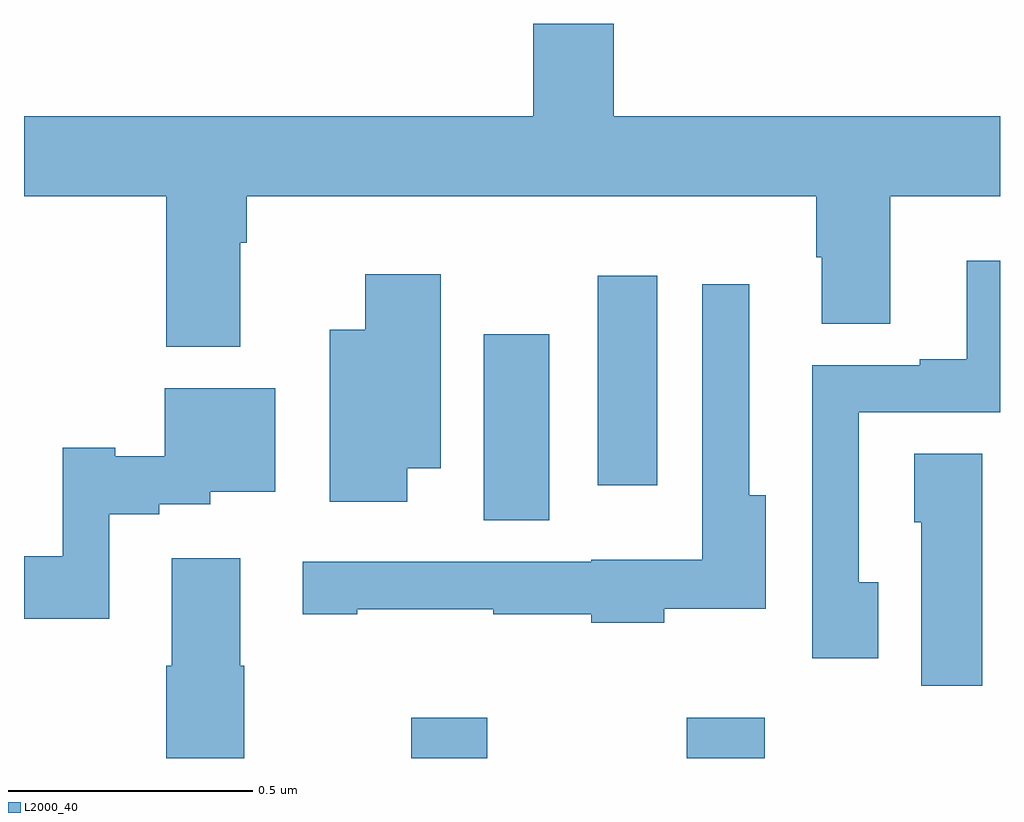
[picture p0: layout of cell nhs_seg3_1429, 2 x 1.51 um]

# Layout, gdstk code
import gdstk
lib = gdstk.Library(unit=1e-6, precision=1e-09)
def R(c, l, rs):  # rectangles x0, y0, x1, y1
    for r in rs: c.add(gdstk.rectangle(r[:2], r[2:], *l))
def P(c, l, *ps):  # polygons
    for p in ps: c.add(gdstk.Polygon(p, *l))
L2000_40 = (2000, 40)

nhs_seg3_1429 = lib.new_cell('nhs_seg3_1429')
R(nhs_seg3_1429, L2000_40, [(128.794,730.4,128.949,730.483), (129.358,730.4,129.518,730.483), (128.942,730.888,129.076,731.269), (129.176,730.959,129.298,731.389)])
P(nhs_seg3_1429, L2000_40, [(128.443,731.456),(128.456,731.456),(128.456,731.552),(129.623,731.552),(129.623,731.427),(129.635,731.427),(129.635,731.29),(129.775,731.29),(129.775,731.552),(130,731.552),(130,731.716),(129.208,731.716),(129.208,731.905),(129.044,731.905),(129.044,731.716),(128,731.716),(128,731.552),(128.291,731.552),(128.291,731.243),(128.443,731.243)],
  [(129.751,730.761),(129.711,730.761),(129.711,731.109),(130,731.109),(130,731.419),(129.932,731.419),(129.932,731.218),(129.836,731.218),(129.836,731.205),(129.615,731.205),(129.615,730.605),(129.751,730.605)],
  [(128.785,730.994),(128.854,730.994),(128.854,731.392),(128.699,731.392),(128.699,731.278),(128.627,731.278),(128.627,730.926),(128.785,730.926)],
  [(129.312,730.706),(129.52,730.706),(129.52,730.939),(129.486,730.939),(129.486,731.371),(129.39,731.371),(129.39,730.807),(129.162,730.807),(129.162,730.803),(128.571,730.803),(128.571,730.695),(128.683,730.695),(128.683,730.705),(128.962,730.705),(128.962,730.695),(129.162,730.695),(129.162,730.678),(129.312,730.678)],
  [(128.175,730.9),(128.277,730.9),(128.277,730.92),(128.382,730.92),(128.382,730.946),(128.515,730.946),(128.515,731.158),(128.288,731.158),(128.288,731.019),(128.187,731.019),(128.187,731.036),(128.079,731.036),(128.079,730.814),(128,730.814),(128,730.686),(128.175,730.686)],
  [(129.964,731.024),(129.824,731.024),(129.824,730.884),(129.839,730.884),(129.839,730.548),(129.964,730.548)],
  [(128.451,730.589),(128.443,730.589),(128.443,730.81),(128.303,730.81),(128.303,730.589),(128.291,730.589),(128.291,730.4),(128.451,730.4)])

lib.write_gds('nhs_seg3_1429.gds')
